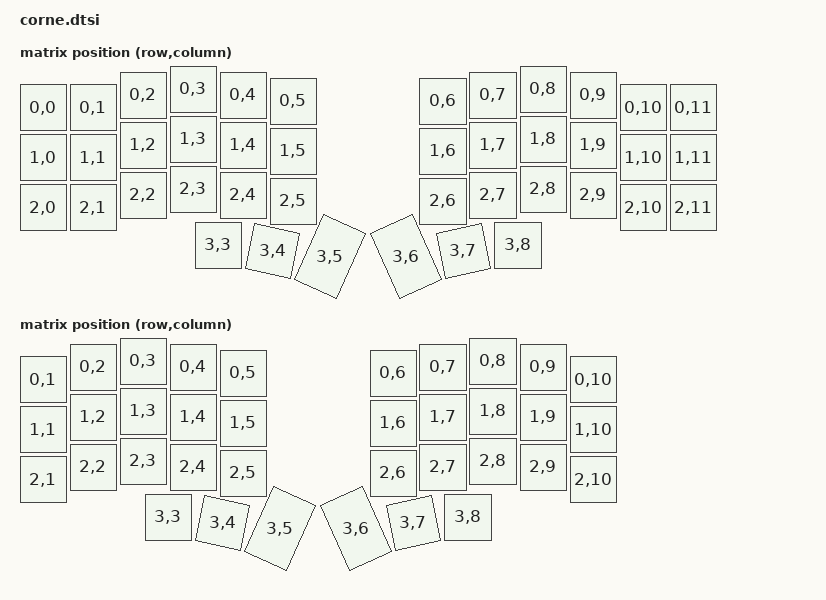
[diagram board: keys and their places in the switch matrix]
#include <physical_layouts.dtsi>

/ {
    foostan_corne_6col_transform: foostan_corne_6col_transform {
        compatible = "zmk,matrix-transform";
        columns = <12>;
        rows = <4>;
// | SW1  | SW2  | SW3  | SW4  | SW5  | SW6  |   | SW6  | SW5  | SW4  | SW3  | SW2  | SW1  |
// | SW7  | SW8  | SW9  | SW10 | SW11 | SW12 |   | SW12 | SW11 | SW10 | SW9  | SW8  | SW7  |
// | SW13 | SW14 | SW15 | SW16 | SW17 | SW18 |   | SW18 | SW17 | SW16 | SW15 | SW14 | SW13 |
//                      | SW19 | SW20 | SW21 |   | SW21 | SW20 | SW19 |
        map = <
RC(0,0) RC(0,1) RC(0,2) RC(0,3) RC(0,4) RC(0,5)  RC(0,6) RC(0,7) RC(0,8) RC(0,9) RC(0,10) RC(0,11)
RC(1,0) RC(1,1) RC(1,2) RC(1,3) RC(1,4) RC(1,5)  RC(1,6) RC(1,7) RC(1,8) RC(1,9) RC(1,10) RC(1,11)
RC(2,0) RC(2,1) RC(2,2) RC(2,3) RC(2,4) RC(2,5)  RC(2,6) RC(2,7) RC(2,8) RC(2,9) RC(2,10) RC(2,11)
                        RC(3,3) RC(3,4) RC(3,5)  RC(3,6) RC(3,7) RC(3,8)
        >;
    };

    foostan_corne_5col_transform: foostan_corne_5col_transform {
        compatible = "zmk,matrix-transform";
        columns = <10>;
        rows = <4>;
// | SW2  | SW3  | SW4  | SW5  | SW6  |   | SW6  | SW5  | SW4  | SW3  | SW2  |
// | SW8  | SW9  | SW10 | SW11 | SW12 |   | SW12 | SW11 | SW10 | SW9  | SW8  |
// | SW14 | SW15 | SW16 | SW17 | SW18 |   | SW18 | SW17 | SW16 | SW15 | SW14 |
//               | SW19 | SW20 | SW21 |   | SW21 | SW20 | SW19 |
        map = <
RC(0,1) RC(0,2) RC(0,3) RC(0,4) RC(0,5)  RC(0,6) RC(0,7) RC(0,8) RC(0,9) RC(0,10)
RC(1,1) RC(1,2) RC(1,3) RC(1,4) RC(1,5)  RC(1,6) RC(1,7) RC(1,8) RC(1,9) RC(1,10)
RC(2,1) RC(2,2) RC(2,3) RC(2,4) RC(2,5)  RC(2,6) RC(2,7) RC(2,8) RC(2,9) RC(2,10)
                        RC(3,3) RC(3,4) RC(3,5)  RC(3,6) RC(3,7) RC(3,8)
        >;
    };

    foostan_corne_6col_layout: foostan_corne_6col_layout {
        compatible = "zmk,physical-layout";
        display-name = "6-column";

        transform = <&foostan_corne_6col_transform>;

        keys  //                     w   h    x    y     rot    rx    ry
            = <&key_physical_attrs 100 100    0   37       0     0     0>
            , <&key_physical_attrs 100 100  100   37       0     0     0>
            , <&key_physical_attrs 100 100  200   12       0     0     0>
            , <&key_physical_attrs 100 100  300    0       0     0     0>
            , <&key_physical_attrs 100 100  400   12       0     0     0>
            , <&key_physical_attrs 100 100  500   24       0     0     0>
            , <&key_physical_attrs 100 100  800   24       0     0     0>
            , <&key_physical_attrs 100 100  900   12       0     0     0>
            , <&key_physical_attrs 100 100 1000    0       0     0     0>
            , <&key_physical_attrs 100 100 1100   12       0     0     0>
            , <&key_physical_attrs 100 100 1200   37       0     0     0>
            , <&key_physical_attrs 100 100 1300   37       0     0     0>
            , <&key_physical_attrs 100 100    0  137       0     0     0>
            , <&key_physical_attrs 100 100  100  137       0     0     0>
            , <&key_physical_attrs 100 100  200  112       0     0     0>
            , <&key_physical_attrs 100 100  300  100       0     0     0>
            , <&key_physical_attrs 100 100  400  112       0     0     0>
            , <&key_physical_attrs 100 100  500  124       0     0     0>
            , <&key_physical_attrs 100 100  800  124       0     0     0>
            , <&key_physical_attrs 100 100  900  112       0     0     0>
            , <&key_physical_attrs 100 100 1000  100       0     0     0>
            , <&key_physical_attrs 100 100 1100  112       0     0     0>
            , <&key_physical_attrs 100 100 1200  137       0     0     0>
            , <&key_physical_attrs 100 100 1300  137       0     0     0>
            , <&key_physical_attrs 100 100    0  237       0     0     0>
            , <&key_physical_attrs 100 100  100  237       0     0     0>
            , <&key_physical_attrs 100 100  200  212       0     0     0>
            , <&key_physical_attrs 100 100  300  200       0     0     0>
            , <&key_physical_attrs 100 100  400  212       0     0     0>
            , <&key_physical_attrs 100 100  500  224       0     0     0>
            , <&key_physical_attrs 100 100  800  224       0     0     0>
            , <&key_physical_attrs 100 100  900  212       0     0     0>
            , <&key_physical_attrs 100 100 1000  200       0     0     0>
            , <&key_physical_attrs 100 100 1100  212       0     0     0>
            , <&key_physical_attrs 100 100 1200  237       0     0     0>
            , <&key_physical_attrs 100 100 1300  237       0     0     0>
            , <&key_physical_attrs 100 100  350  312       0     0     0>
            , <&key_physical_attrs 100 100  450  312    1200   450   412>
            , <&key_physical_attrs 100 150  548  283    2400   548   433>
            , <&key_physical_attrs 100 150  752  283  (-2400)  852   433>
            , <&key_physical_attrs 100 100  850  312  (-1200)  950   412>
            , <&key_physical_attrs 100 100  950  312       0     0     0>
        ;
    };

    foostan_corne_5col_layout: foostan_corne_5col_layout {
        compatible = "zmk,physical-layout";
        display-name = "5-column";

        transform = <&foostan_corne_5col_transform>;

        keys  //                     w   h    x    y     rot    rx    ry
            = <&key_physical_attrs 100 100    0   37       0     0     0>
            , <&key_physical_attrs 100 100  100   12       0     0     0>
            , <&key_physical_attrs 100 100  200    0       0     0     0>
            , <&key_physical_attrs 100 100  300   12       0     0     0>
            , <&key_physical_attrs 100 100  400   24       0     0     0>
            , <&key_physical_attrs 100 100  700   24       0     0     0>
            , <&key_physical_attrs 100 100  800   12       0     0     0>
            , <&key_physical_attrs 100 100  900    0       0     0     0>
            , <&key_physical_attrs 100 100 1000   12       0     0     0>
            , <&key_physical_attrs 100 100 1100   37       0     0     0>
            , <&key_physical_attrs 100 100    0  137       0     0     0>
            , <&key_physical_attrs 100 100  100  112       0     0     0>
            , <&key_physical_attrs 100 100  200  100       0     0     0>
            , <&key_physical_attrs 100 100  300  112       0     0     0>
            , <&key_physical_attrs 100 100  400  124       0     0     0>
            , <&key_physical_attrs 100 100  700  124       0     0     0>
            , <&key_physical_attrs 100 100  800  112       0     0     0>
            , <&key_physical_attrs 100 100  900  100       0     0     0>
            , <&key_physical_attrs 100 100 1000  112       0     0     0>
            , <&key_physical_attrs 100 100 1100  137       0     0     0>
            , <&key_physical_attrs 100 100    0  237       0     0     0>
            , <&key_physical_attrs 100 100  100  212       0     0     0>
            , <&key_physical_attrs 100 100  200  200       0     0     0>
            , <&key_physical_attrs 100 100  300  212       0     0     0>
            , <&key_physical_attrs 100 100  400  224       0     0     0>
            , <&key_physical_attrs 100 100  700  224       0     0     0>
            , <&key_physical_attrs 100 100  800  212       0     0     0>
            , <&key_physical_attrs 100 100  900  200       0     0     0>
            , <&key_physical_attrs 100 100 1000  212       0     0     0>
            , <&key_physical_attrs 100 100 1100  237       0     0     0>
            , <&key_physical_attrs 100 100  250  312       0     0     0>
            , <&key_physical_attrs 100 100  350  312    1200   350   412>
            , <&key_physical_attrs 100 150  448  283    2400   448   433>
            , <&key_physical_attrs 100 150  652  283  (-2400)  752   433>
            , <&key_physical_attrs 100 100  750  312  (-1200)  850   412>
            , <&key_physical_attrs 100 100  850  312       0     0     0>
        ;
    };

    foostan_corne_position_map {
        compatible = "zmk,physical-layout-position-map";

        complete;

        twelve {
            physical-layout = <&foostan_corne_6col_layout>;
            positions
                = <    1  2  3  4  5  6  7  8  9 10   >
                , <   13 14 15 16 17 18 19 20 21 22   >
                , <   25 26 27 28 29 30 31 32 33 34   >
                , <         36 37 38 39 40 41               >;
        };

        ten {
            physical-layout = <&foostan_corne_5col_layout>;
            positions
                = < 0  1  2  3  4  5  6  7  8  9>
                , <10 11 12 13 14 15 16 17 18 19>
                , <20 21 22 23 24 25 26 27 28 29>
                ,       <30 31 32 33 34 35>;
        };
    };
};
